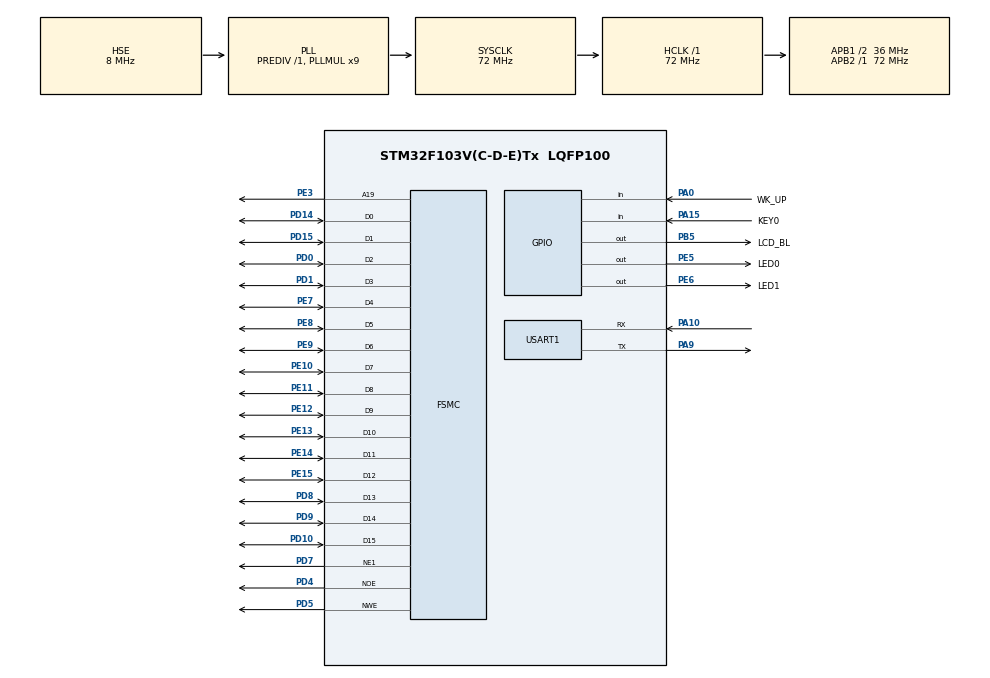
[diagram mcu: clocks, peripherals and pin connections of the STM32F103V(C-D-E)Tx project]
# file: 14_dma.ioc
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Dma.Request0=USART1_TX
Dma.USART1_TX.0.Direction=DMA_MEMORY_TO_PERIPH
Dma.USART1_TX.0.Instance=DMA1_Channel4
Dma.USART1_TX.0.MemDataAlignment=DMA_MDATAALIGN_BYTE
Dma.USART1_TX.0.MemInc=DMA_MINC_ENABLE
Dma.USART1_TX.0.Mode=DMA_NORMAL
Dma.USART1_TX.0.PeriphDataAlignment=DMA_PDATAALIGN_BYTE
Dma.USART1_TX.0.PeriphInc=DMA_PINC_DISABLE
Dma.USART1_TX.0.Priority=DMA_PRIORITY_MEDIUM
FSMC.AddressSetupTime1=0
FSMC.DataSetupTime1=15
FSMC.ExtendedAddressSetupTime1=0
FSMC.ExtendedDataSetupTime1=1
FSMC.ExtendedMode1=FSMC_EXTENDED_MODE_ENABLE
Mcu.Family=STM32F1
Mcu.Name=STM32F103V(C-D-E)Tx
Mcu.Package=LQFP100
NVIC.DMA1_Channel4_IRQn=true\:0\:0\:false\:false\:true\:false\:true\:true
NVIC.PriorityGroup=NVIC_PRIORITYGROUP_2
NVIC.USART1_IRQn=true\:2\:2\:true\:false\:true\:true\:true\:true
OSC_IN.Mode=HSE-External-Oscillator
OSC_IN.Signal=RCC_OSC_IN
OSC_OUT.Mode=HSE-External-Oscillator
OSC_OUT.Signal=RCC_OSC_OUT
PA0-WKUP.GPIO_Label=WK_UP
PA0-WKUP.GPIO_PuPd=GPIO_PULLDOWN
PA0-WKUP.Signal=GPIO_Input
PA10.Mode=Asynchronous
PA10.Signal=USART1_RX
PA13.Mode=Serial_Wire
PA13.Signal=SYS_JTMS-SWDIO
PA14.Mode=Serial_Wire
PA14.Signal=SYS_JTCK-SWCLK
PA15.GPIO_Label=KEY0
PA15.GPIO_PuPd=GPIO_PULLDOWN
PA15.Signal=GPIO_Input
PA9.Mode=Asynchronous
PA9.Signal=USART1_TX
PB5.GPIO_Label=LCD_BL
PB5.GPIO_PuPd=GPIO_PULLUP
PB5.GPIO_Speed=GPIO_SPEED_FREQ_HIGH
PB5.PinState=GPIO_PIN_SET
PB5.Signal=GPIO_Output
PC14-OSC32_IN.Mode=LSE-External-Oscillator
PC14-OSC32_IN.Signal=RCC_OSC32_IN
PC15-OSC32_OUT.Mode=LSE-External-Oscillator
PC15-OSC32_OUT.Signal=RCC_OSC32_OUT
PD0.Mode=16b-d1
PD0.Signal=FSMC_D2
PD1.Mode=16b-d1
PD1.Signal=FSMC_D3
PD10.Mode=16b-d1
PD10.Signal=FSMC_D15
PD14.Mode=16b-d1
PD14.Signal=FSMC_D0
PD15.Mode=16b-d1
PD15.Signal=FSMC_D1
PD4.Mode=Lcd1
PD4.Signal=FSMC_NOE
PD5.Mode=Lcd1
PD5.Signal=FSMC_NWE
PD7.Mode=NorPsramChipSelect1_1
PD7.Signal=FSMC_NE1
PD8.Mode=16b-d1
PD8.Signal=FSMC_D13
PD9.Mode=16b-d1
PD9.Signal=FSMC_D14
PE10.Mode=16b-d1
PE10.Signal=FSMC_D7
PE11.Mode=16b-d1
PE11.Signal=FSMC_D8
PE12.Mode=16b-d1
PE12.Signal=FSMC_D9
PE13.Mode=16b-d1
PE13.Signal=FSMC_D10
PE14.Mode=16b-d1
PE14.Signal=FSMC_D11
PE15.Mode=16b-d1
PE15.Signal=FSMC_D12
PE3.Mode=A19_1
PE3.Signal=FSMC_A19
PE5.GPIO_Label=LED0
PE5.GPIO_PuPd=GPIO_PULLUP
PE5.GPIO_Speed=GPIO_SPEED_FREQ_HIGH
PE5.PinState=GPIO_PIN_SET
PE5.Signal=GPIO_Output
PE6.GPIO_Label=LED1
PE6.GPIO_PuPd=GPIO_PULLUP
PE6.GPIO_Speed=GPIO_SPEED_FREQ_HIGH
PE6.PinState=GPIO_PIN_SET
PE6.Signal=GPIO_Output
PE7.Mode=16b-d1
PE7.Signal=FSMC_D4
PE8.Mode=16b-d1
PE8.Signal=FSMC_D5
PE9.Mode=16b-d1
PE9.Signal=FSMC_D6
ProjectManager.HeapSize=0x200
ProjectManager.StackSize=0x400
ProjectManager.TargetToolchain=STM32CubeIDE
RCC.AHBFreq_Value=72000000
RCC.APB1CLKDivider=RCC_HCLK_DIV2
RCC.APB1Freq_Value=36000000
RCC.APB1TimFreq_Value=72000000
RCC.APB2Freq_Value=72000000
RCC.APB2TimFreq_Value=72000000
RCC.HCLKFreq_Value=72000000
RCC.PLLMUL=RCC_PLL_MUL9
RCC.PLLSourceVirtual=RCC_PLLSOURCE_HSE
RCC.SYSCLKFreq_VALUE=72000000
RCC.SYSCLKSource=RCC_SYSCLKSOURCE_PLLCLK
RCC.USBFreq_Value=72000000
USART1.VirtualMode=VM_ASYNC
board=custom

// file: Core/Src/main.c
/* USER CODE BEGIN Header */
/**
 ****************************************************************************************************
 * @file        main.c
 * @author      ALIENTEK
 * @brief       dma code
 * @license     Copyright (C) 2012-2024, ALIENTEK
 ****************************************************************************************************
 * @attention
 *
 * platform     : ALIENTEK M100-STM32F103 board
 * website      : www.alientek.com
 * forum        : www.openedv.com/forum.php
 *
 * change logs  :
 * version      data         notes
 * V1.0         20240409     the first version
 *
 ****************************************************************************************************
 */
/* USER CODE END Header */
#include "main.h"
#include "dma.h"
#include "usart.h"
#include "gpio.h"
#include "fsmc.h"

/* USER CODE BEGIN Includes */
#include "../../BSP/LED/led.h"
#include "../../BSP/KEY/key.h"
#include "../../BSP/LCD/lcd.h"
/* USER CODE END Includes */

void SystemClock_Config(void);
/* USER CODE BEGIN PFP */
const uint8_t TEXT_TO_SEND[] = {"ALIENTEK STM32 DMA code"};      /* The string to send in a loop */

#define SEND_BUF_SIZE       (sizeof(TEXT_TO_SEND) + 2) * 200     /* The length of the sent data, which is 200 times larger than sizeof(TEXT_TO_SEND) + 2. */

uint8_t g_sendbuf[SEND_BUF_SIZE];                                /* Send data buffer */

extern DMA_HandleTypeDef hdma_usart1_tx;
/* USER CODE END PFP */

/* USER CODE BEGIN 0 */
/**
 * @brief   Displays information about the experiment
 * @param   None
 * @retval  None
 */
void stm32f103ve_show_mesg(void)
{
	/* The serial port outputs the experimental information */
	printf("\n");
	printf("********************************\r\n");
	printf("STM32F103\r\n");
	printf("DMA Test\r\n");
	printf("KEY0:Start\r\n");
	printf("ATOM@ALIENTEK\r\n");
	printf("********************************\r\n");
	printf("\r\n");
}
/* USER CODE END 0 */

int main(void)
{
  /* USER CODE BEGIN 1 */
  uint8_t  key = 0;
  uint16_t i, k;
  uint16_t len;
  uint8_t  mask = 0;
  float pro = 0;          /* rate of progress */
  /* USER CODE END 1 */

  /* MCU Configuration--------------------------------------------------------*/

  /* Reset of all peripherals, Initializes the Flash interface and the Systick. */
  HAL_Init();

  /* Configure the system clock */
  SystemClock_Config();

  /* Initialize all configured peripherals */
  MX_GPIO_Init();
  MX_DMA_Init();
  MX_USART1_UART_Init();
  MX_FSMC_Init();
  /* USER CODE BEGIN 2 */

  lcd_init();                                         /* Initialize LCD */
  stm32f103ve_show_mesg();
  lcd_show_string(30, 50, 200, 16, 16, "STM32", RED);
  lcd_show_string(30, 70, 200, 16, 16, "DMA TEST", RED);
  lcd_show_string(30, 90, 200, 16, 16, "ATOM@ALIENTEK", RED);
  lcd_show_string(30, 110, 200, 16, 16, "KEY0:Start", RED);
  len = sizeof(TEXT_TO_SEND);
  k = 0;

  for (i = 0; i < SEND_BUF_SIZE; i++) /* Fill in ASCII character set data */
  {
    if (k >= len)   /* Enter a newline character */
    {
      if (mask)
      {
        g_sendbuf[i] = 0x0a;
        k = 0;
      }
      else
      {
        g_sendbuf[i] = 0x0d;
        mask++;
      }
    }
    else     /* Copy the TEXT_TO_SEND statement */
    {
      mask = 0;
      g_sendbuf[i] = TEXT_TO_SEND[k];
      k++;
    }
  }

  i = 0;
  /* USER CODE END 2 */

  /* Infinite loop */
  /* USER CODE BEGIN WHILE */
  while (1)
  {
    key = key_scan(0);

    if (key == KEY0_PRES)       /* press KEY0 */
    {
      printf("\r\nDMA DATA:\r\n");
      lcd_show_string(30, 130, 200, 16, 16, "Start Transimit....", BLUE);
      lcd_show_string(30, 150, 200, 16, 16, "   %", BLUE);    /* Display percent sign */

      HAL_UART_Transmit_DMA(&huart1, g_sendbuf, SEND_BUF_SIZE);

      while (1)
      {
        if ( __HAL_DMA_GET_FLAG(&hdma_usart1_tx, DMA_FLAG_TC4))
        {
          __HAL_DMA_CLEAR_FLAG(&hdma_usart1_tx, DMA_FLAG_TC4);
          HAL_UART_DMAStop(&huart1);  /* Close serial DMA after transmission */
          break;
        }

        pro = __HAL_DMA_GET_COUNTER(&hdma_usart1_tx);
        len = SEND_BUF_SIZE;        /* total length */
        pro = 1 - (pro / len);      /* get the percentage */
        pro *= 100;                 /* 100 times larger */
        lcd_show_num(30, 150, pro, 3, 16, BLUE);
      }
      lcd_show_num(30, 150, 100, 3, 16, BLUE);    /* Display 100% */
      lcd_show_string(30, 130, 200, 16, 16, "Transimit Finished!", BLUE); /* Prompt transmission completed */
    }

    i++;
    HAL_Delay(10);

    if (i == 20)
    {
      LED0_TOGGLE();  /* flashing LED0 indicates that the system is running */
      i = 0;
    }
    /* USER CODE END WHILE */

  }
}

void SystemClock_Config(void)
{
  RCC_OscInitTypeDef RCC_OscInitStruct = {0};
  RCC_ClkInitTypeDef RCC_ClkInitStruct = {0};

  /** Initializes the RCC Oscillators according to the specified parameters
  * in the RCC_OscInitTypeDef structure.
  */
  RCC_OscInitStruct.OscillatorType = RCC_OSCILLATORTYPE_HSE;
  RCC_OscInitStruct.HSEState = RCC_HSE_ON;
  RCC_OscInitStruct.HSEPredivValue = RCC_HSE_PREDIV_DIV1;
  RCC_OscInitStruct.HSIState = RCC_HSI_ON;
  RCC_OscInitStruct.PLL.PLLState = RCC_PLL_ON;
  RCC_OscInitStruct.PLL.PLLSource = RCC_PLLSOURCE_HSE;
  RCC_OscInitStruct.PLL.PLLMUL = RCC_PLL_MUL9;
  if (HAL_RCC_OscConfig(&RCC_OscInitStruct) != HAL_OK)
  {
    Error_Handler();
  }

  /** Initializes the CPU, AHB and APB buses clocks
  */
  RCC_ClkInitStruct.ClockType = RCC_CLOCKTYPE_HCLK|RCC_CLOCKTYPE_SYSCLK
                              |RCC_CLOCKTYPE_PCLK1|RCC_CLOCKTYPE_PCLK2;
  RCC_ClkInitStruct.SYSCLKSource = RCC_SYSCLKSOURCE_PLLCLK;
  RCC_ClkInitStruct.AHBCLKDivider = RCC_SYSCLK_DIV1;
  RCC_ClkInitStruct.APB1CLKDivider = RCC_HCLK_DIV2;
  RCC_ClkInitStruct.APB2CLKDivider = RCC_HCLK_DIV1;

  if (HAL_RCC_ClockConfig(&RCC_ClkInitStruct, FLASH_LATENCY_2) != HAL_OK)
  {
    Error_Handler();
  }
}

void Error_Handler(void)
{
  __disable_irq();
  while (1)
  {
  }
}
